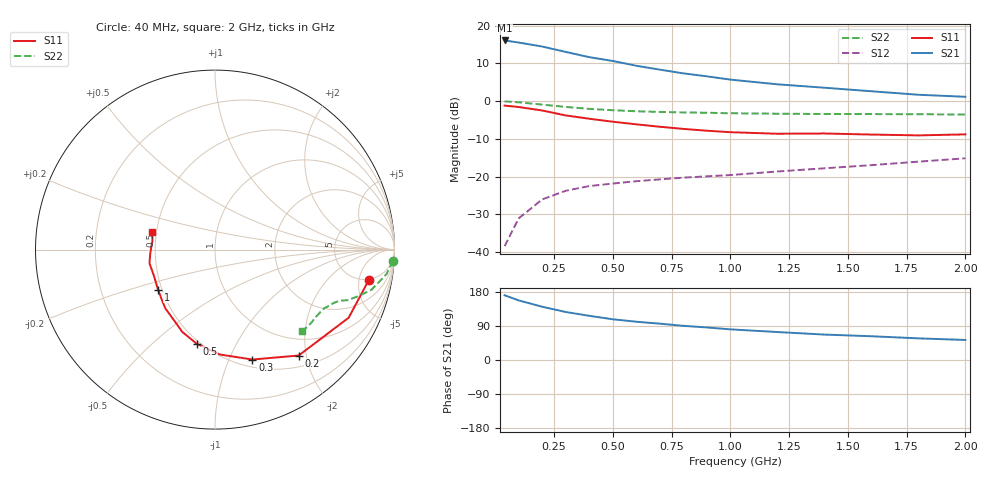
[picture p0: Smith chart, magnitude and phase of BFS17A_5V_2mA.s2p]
! Filename:  BFS17AA.S2P  Version:  2.0
! Philips part #: BFS17A  Date: May 1990
! Bias condition: Vce=5V, Ic=2mA
#  MHz  S  MA  R  50
! Freq  S11  S21  S12  S22  !GUM [dB]
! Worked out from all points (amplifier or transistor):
!   16 points, 40 MHz to 2 GHz, reference 50 ohm
!   highest |S21| = 16.1 dB at 40 MHz (marker M1)
!   |S21| within 3 dB of that: start of sweep to 297.6 MHz
!   unconditionally stable (mu >= 1): 975.9 MHz to end of sweep
!   at 200 MHz: K = 0.27, MSG = 20.2 dB, |S12| = -26.0 dB
!   at 800 MHz: K = 0.86, MSG = 13.8 dB, |S12| = -20.3 dB
!   at 2 GHz: K = 1.07, MAG = 6.5 dB, |S12| = -15.1 dB
!   S11 on the Smith chart (normalised r, x): 40 MHz: 4.76, -6.85; 200 MHz: 0.69, -1.86; 300 MHz: 0.58, -1.22; 500 MHz: 0.48, -0.70; 1 GHz: 0.48, -0.25; 2 GHz: 0.47, +0.11
40  0.873 -11.3  6.365 170.8  0.012 83.4  0.993 -3.6
100  0.836 -27.0  5.97 157.3  0.028 72.9  0.965 -8.2
200  0.752 -51.7  5.289 140.5  0.05 64.7  0.9 -14.4
300  0.647 -71.2  4.488 126.7  0.065 57.9  0.838 -18.1
400  0.585 -87.4  3.824 116.6  0.075 53.3  0.79 -20.9
500  0.534 -101.1  3.406 107.5  0.081 52.0  0.758 -22.0
600  0.493 -111.8  2.943 101.0  0.087 51.5  0.735 -23.4
700  0.458 -119.3  2.614 95.9  0.092 52.4  0.72 -24.7
800  0.429 -130.1  2.334 90.2  0.097 53.1  0.709 -25.8
900  0.406 -137.1  2.131 85.9  0.101 55.0  0.702 -27.0
1000  0.388 -145.0  1.929 80.9  0.105 56.1  0.691 -28.2
1200  0.37 -157.1  1.671 73.8  0.117 59.5  0.682 -30.9
1400  0.373 -168.2  1.506 67.1  0.129 62.7  0.675 -34.0
1600  0.361 -177.1  1.352 62.7  0.142 66.7  0.674 -36.8
1800  0.352 171.9  1.215 57.1  0.158 69.3  0.671 -39.8
2000  0.363 164.6  1.142 52.9  0.175 71.0  0.665 -43.3
